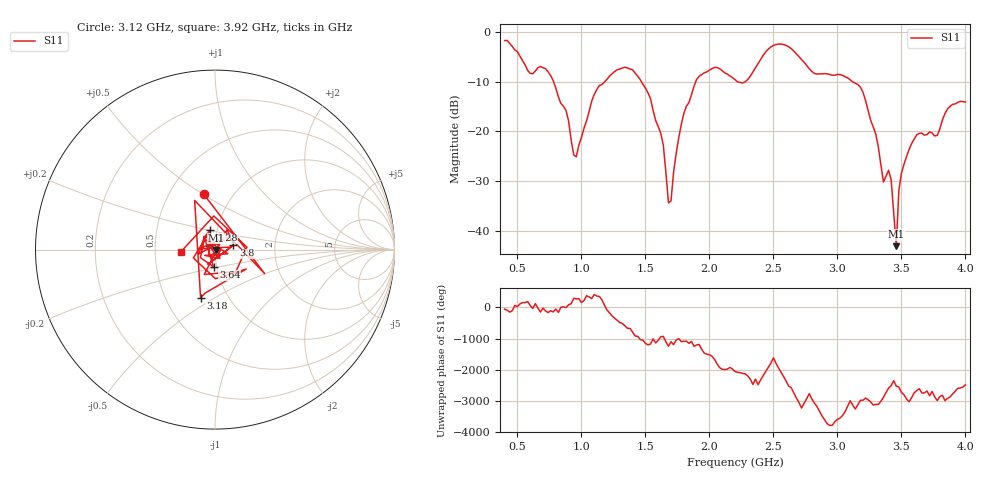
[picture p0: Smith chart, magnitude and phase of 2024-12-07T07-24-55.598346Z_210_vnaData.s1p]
!Created with skrf (http://scikit-rf.org).
# Hz S RI R 50.0
!freq ReS11 ImS11
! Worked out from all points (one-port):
!   181 points, 400 MHz to 4 GHz, reference 50 ohm
!   lowest |S11| = -43.1 dB at 3.46 GHz (marker M1), VSWR 1.01, Z = 50.7 - j0.154 ohm
!   |S11| at or under -10 dB: 782.9 MHz to 1.18 GHz (397.5 MHz wide, 40.5 % of centre); 1.469 GHz to 1.893 GHz (423.7 MHz wide, 25.2 % of centre); 3.119 GHz to end of sweep (the widest 3 of 4)
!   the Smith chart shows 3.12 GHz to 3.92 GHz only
!   S11 on the Smith chart (normalised r, x): 3.12 GHz: 0.73, +0.50; 3.18 GHz: 0.74, -0.43; 3.28 GHz: 0.93, +0.20; 3.64 GHz: 0.97, -0.19; 3.8 GHz: 1.23, +0.06; 3.92 GHz: 0.68, -0.02
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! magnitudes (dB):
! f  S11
! 400 MHz  -1.7
! 600 MHz  -8.3
! 720 MHz  -7.4
! 860 MHz  -14.9
! 960 MHz  -25.1
! 1.1 GHz  -12.5
! 1.3 GHz  -7.4
! 1.54 GHz  -13.4
! 1.64 GHz  -22.8
! 1.68 GHz  -34.4
! 1.76 GHz  -21.3
! 1.92 GHz  -8.9
! 2.2 GHz  -9.6
! 2.5 GHz  -2.7
! 2.66 GHz  -3.8
! 3.1 GHz  -9.6
! 3.12 GHz  -10.0
! 3.18 GHz  -11.1
! 3.28 GHz  -19.1
! 3.36 GHz  -30.2
! 3.42 GHz  -29.8
! 3.46 GHz  -43.1
! 3.48 GHz  -31.9
! 3.56 GHz  -23.6
! 3.64 GHz  -20.4
! 3.8 GHz  -19.5
! 3.92 GHz  -14.4
! 4 GHz  -14.1
